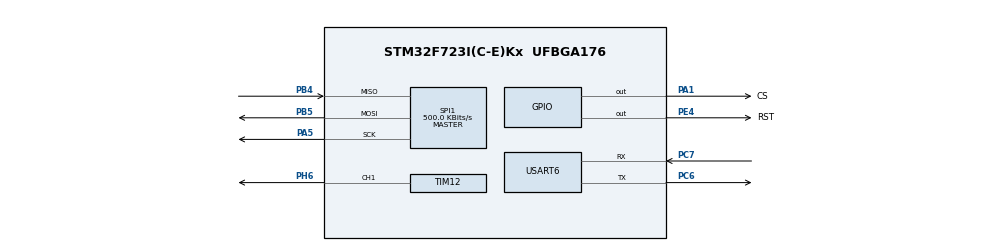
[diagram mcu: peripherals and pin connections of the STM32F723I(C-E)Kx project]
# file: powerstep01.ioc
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Mcu.Family=STM32F7
Mcu.Name=STM32F723I(C-E)Kx
Mcu.Package=UFBGA176
NVIC.PriorityGroup=NVIC_PRIORITYGROUP_4
PA1.GPIO_Label=CS
PA1.Signal=GPIO_Output
PA5.Mode=Full_Duplex_Master
PA5.Signal=SPI1_SCK
PB4.Mode=Full_Duplex_Master
PB4.Signal=SPI1_MISO
PB5.Mode=Full_Duplex_Master
PB5.Signal=SPI1_MOSI
PC6.Mode=Asynchronous
PC6.Signal=USART6_TX
PC7.Mode=Asynchronous
PC7.Signal=USART6_RX
PE4.GPIO_Label=RST
PE4.Signal=GPIO_Output
PH6.Signal=S_TIM12_CH1
ProjectManager.HeapSize=0x800
ProjectManager.StackSize=0x800
ProjectManager.TargetToolchain=TrueSTUDIO
RCC.HSE_VALUE=25000000
RCC.HSI_VALUE=16000000
RCC.LSE_VALUE=32768
RCC.USBFreq_Value=96000000
RCC.VCOOutputFreq_Value=192000000
SH.S_TIM12_CH1.0=TIM12_CH1,PWM Generation1 CH1
SPI1.BaudRatePrescaler=SPI_BAUDRATEPRESCALER_32
SPI1.CLKPhase=SPI_PHASE_2EDGE
SPI1.CLKPolarity=SPI_POLARITY_HIGH
SPI1.CalculateBaudRate=500.0 KBits/s
SPI1.DataSize=SPI_DATASIZE_8BIT
SPI1.Direction=SPI_DIRECTION_2LINES
SPI1.Mode=SPI_MODE_MASTER
SPI1.VirtualType=VM_MASTER
TIM12.Channel-PWM\ Generation1\ CH1=TIM_CHANNEL_1
TIM12.Period=200
TIM12.Pulse-PWM\ Generation1\ CH1=100
USART6.VirtualMode-Asynchronous=VM_ASYNC
VP_TIM12_VS_ClockSourceINT.Mode=Internal
board=custom

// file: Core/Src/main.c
/* USER CODE BEGIN Header */
/**
  ******************************************************************************
  * @file           : main.c
  * @brief          : Main program body
  ******************************************************************************
  * @attention
  *
  * <h2><center>&copy; Copyright (c) 2021 STMicroelectronics.
  * All rights reserved.</center></h2>
  *
  * This software component is licensed by ST under BSD 3-Clause license,
  * the "License"; You may not use this file except in compliance with the
  * License. You may obtain a copy of the License at:
  *                        opensource.org/licenses/BSD-3-Clause
  *
  ******************************************************************************
  */
/* USER CODE END Header */
#include "main.h"

/* USER CODE BEGIN Includes */
#include <stdio.h>

/* USER CODE END Includes */

SPI_HandleTypeDef hspi1;

TIM_HandleTypeDef htim12;

UART_HandleTypeDef huart6;

void SystemClock_Config(void);
static void MX_GPIO_Init(void);
static void MX_SPI1_Init(void);
static void MX_USART6_UART_Init(void);
static void MX_TIM12_Init(void);

/* USER CODE BEGIN 0 */
//DEBUG PRINTF
int __io_putchar(int ch)
{
	char v;
	v = (uint8_t )ch;
	return HAL_UART_Transmit(&huart6, (uint8_t *)&v, 1 ,1000);
}

#include "powerstep01_lib.h"

uint8_t xfer_byte(uint8_t byte)
{
	uint8_t tx = byte;
	uint8_t rx = 0;
	HAL_GPIO_WritePin(CS_GPIO_Port, CS_Pin, GPIO_PIN_RESET);
	HAL_SPI_TransmitReceive(&hspi1, &tx, &rx, 1, 1000);
	HAL_GPIO_WritePin(CS_GPIO_Port, CS_Pin, GPIO_PIN_SET);
	return rx;
}

void init_stepper_motor(void)
{
	set_param(POWERSTEP01_KVAL_HOLD, 64);
	set_param(POWERSTEP01_KVAL_RUN, 64);
	set_param(POWERSTEP01_KVAL_ACC, 64);
	set_param(POWERSTEP01_KVAL_DEC, 64);
	set_param(POWERSTEP01_OCD_TH, 31);
	set_param(POWERSTEP01_STALL_TH, 31);
	set_param(POWERSTEP01_STEP_MODE, 0);
	set_param(POWERSTEP01_CONFIG, 0x3e08);
}

void powerstep_reset_state(uint8_t s)
{
	if(s)
		HAL_GPIO_WritePin(RST_GPIO_Port, RST_Pin, GPIO_PIN_SET);
	else
		HAL_GPIO_WritePin(RST_GPIO_Port, RST_Pin, GPIO_PIN_RESET);
}
/* USER CODE END 0 */

int main(void)
{

  /* MCU Configuration--------------------------------------------------------*/

  /* Reset of all peripherals, Initializes the Flash interface and the Systick. */
  HAL_Init();

  /* Configure the system clock */
  SystemClock_Config();

  /* Initialize all configured peripherals */
  MX_GPIO_Init();
  MX_SPI1_Init();
  MX_USART6_UART_Init();
  MX_TIM12_Init();
  /* USER CODE BEGIN 2 */

  powerstep_reset_state(1);

  printf("powerstep01 bringup!\r\n");
  uint16_t status = 0;
  HAL_Delay(1);

  HAL_Delay(1);

  setHardHiZ();
  init_stepper_motor();
  setHardHiZ();
  HAL_Delay(1);

  /* USER CODE END 2 */

  /* Infinite loop */
  /* USER CODE BEGIN WHILE */
  while (1)
  {

		Move(1000);

		do {
		status = getStatus();
		}while((status & POWERSTEP01_STATUS_MOT_STATUS) != 0);

		Move(-1000);

		do {
		status = getStatus();
		}while((status & POWERSTEP01_STATUS_MOT_STATUS) != 0);

    /* USER CODE END WHILE */

  }
}

void SystemClock_Config(void)
{
  RCC_OscInitTypeDef RCC_OscInitStruct = {0};
  RCC_ClkInitTypeDef RCC_ClkInitStruct = {0};
  RCC_PeriphCLKInitTypeDef PeriphClkInitStruct = {0};

  /** Configure the main internal regulator output voltage
  */
  __HAL_RCC_PWR_CLK_ENABLE();
  __HAL_PWR_VOLTAGESCALING_CONFIG(PWR_REGULATOR_VOLTAGE_SCALE3);
  /** Initializes the RCC Oscillators according to the specified parameters
  * in the RCC_OscInitTypeDef structure.
  */
  RCC_OscInitStruct.OscillatorType = RCC_OSCILLATORTYPE_HSI;
  RCC_OscInitStruct.HSIState = RCC_HSI_ON;
  RCC_OscInitStruct.HSICalibrationValue = RCC_HSICALIBRATION_DEFAULT;
  RCC_OscInitStruct.PLL.PLLState = RCC_PLL_NONE;
  if (HAL_RCC_OscConfig(&RCC_OscInitStruct) != HAL_OK)
  {
    Error_Handler();
  }
  /** Initializes the CPU, AHB and APB buses clocks
  */
  RCC_ClkInitStruct.ClockType = RCC_CLOCKTYPE_HCLK|RCC_CLOCKTYPE_SYSCLK
                              |RCC_CLOCKTYPE_PCLK1|RCC_CLOCKTYPE_PCLK2;
  RCC_ClkInitStruct.SYSCLKSource = RCC_SYSCLKSOURCE_HSI;
  RCC_ClkInitStruct.AHBCLKDivider = RCC_SYSCLK_DIV1;
  RCC_ClkInitStruct.APB1CLKDivider = RCC_HCLK_DIV1;
  RCC_ClkInitStruct.APB2CLKDivider = RCC_HCLK_DIV1;

  if (HAL_RCC_ClockConfig(&RCC_ClkInitStruct, FLASH_LATENCY_0) != HAL_OK)
  {
    Error_Handler();
  }
  PeriphClkInitStruct.PeriphClockSelection = RCC_PERIPHCLK_USART6;
  PeriphClkInitStruct.Usart6ClockSelection = RCC_USART6CLKSOURCE_PCLK2;
  if (HAL_RCCEx_PeriphCLKConfig(&PeriphClkInitStruct) != HAL_OK)
  {
    Error_Handler();
  }
}

static void MX_SPI1_Init(void)
{

  /* SPI1 parameter configuration*/
  hspi1.Instance = SPI1;
  hspi1.Init.Mode = SPI_MODE_MASTER;
  hspi1.Init.Direction = SPI_DIRECTION_2LINES;
  hspi1.Init.DataSize = SPI_DATASIZE_8BIT;
  hspi1.Init.CLKPolarity = SPI_POLARITY_HIGH;
  hspi1.Init.CLKPhase = SPI_PHASE_2EDGE;
  hspi1.Init.NSS = SPI_NSS_SOFT;
  hspi1.Init.BaudRatePrescaler = SPI_BAUDRATEPRESCALER_32;
  hspi1.Init.FirstBit = SPI_FIRSTBIT_MSB;
  hspi1.Init.TIMode = SPI_TIMODE_DISABLE;
  hspi1.Init.CRCCalculation = SPI_CRCCALCULATION_DISABLE;
  hspi1.Init.CRCPolynomial = 7;
  hspi1.Init.CRCLength = SPI_CRC_LENGTH_DATASIZE;
  hspi1.Init.NSSPMode = SPI_NSS_PULSE_DISABLE;
  if (HAL_SPI_Init(&hspi1) != HAL_OK)
  {
    Error_Handler();
  }

}

static void MX_TIM12_Init(void)
{

  TIM_ClockConfigTypeDef sClockSourceConfig = {0};
  TIM_OC_InitTypeDef sConfigOC = {0};

  htim12.Instance = TIM12;
  htim12.Init.Prescaler = 0;
  htim12.Init.CounterMode = TIM_COUNTERMODE_UP;
  htim12.Init.Period = 200;
  htim12.Init.ClockDivision = TIM_CLOCKDIVISION_DIV1;
  htim12.Init.AutoReloadPreload = TIM_AUTORELOAD_PRELOAD_DISABLE;
  if (HAL_TIM_Base_Init(&htim12) != HAL_OK)
  {
    Error_Handler();
  }
  sClockSourceConfig.ClockSource = TIM_CLOCKSOURCE_INTERNAL;
  if (HAL_TIM_ConfigClockSource(&htim12, &sClockSourceConfig) != HAL_OK)
  {
    Error_Handler();
  }
  if (HAL_TIM_PWM_Init(&htim12) != HAL_OK)
  {
    Error_Handler();
  }
  sConfigOC.OCMode = TIM_OCMODE_PWM1;
  sConfigOC.Pulse = 100;
  sConfigOC.OCPolarity = TIM_OCPOLARITY_HIGH;
  sConfigOC.OCFastMode = TIM_OCFAST_DISABLE;
  if (HAL_TIM_PWM_ConfigChannel(&htim12, &sConfigOC, TIM_CHANNEL_1) != HAL_OK)
  {
    Error_Handler();
  }
  HAL_TIM_MspPostInit(&htim12);

}

static void MX_USART6_UART_Init(void)
{

  huart6.Instance = USART6;
  huart6.Init.BaudRate = 115200;
  huart6.Init.WordLength = UART_WORDLENGTH_8B;
  huart6.Init.StopBits = UART_STOPBITS_1;
  huart6.Init.Parity = UART_PARITY_NONE;
  huart6.Init.Mode = UART_MODE_TX_RX;
  huart6.Init.HwFlowCtl = UART_HWCONTROL_NONE;
  huart6.Init.OverSampling = UART_OVERSAMPLING_16;
  huart6.Init.OneBitSampling = UART_ONE_BIT_SAMPLE_DISABLE;
  huart6.AdvancedInit.AdvFeatureInit = UART_ADVFEATURE_NO_INIT;
  if (HAL_UART_Init(&huart6) != HAL_OK)
  {
    Error_Handler();
  }

}

static void MX_GPIO_Init(void)
{
  GPIO_InitTypeDef GPIO_InitStruct = {0};

  /* GPIO Ports Clock Enable */
  __HAL_RCC_GPIOB_CLK_ENABLE();
  __HAL_RCC_GPIOE_CLK_ENABLE();
  __HAL_RCC_GPIOC_CLK_ENABLE();
  __HAL_RCC_GPIOH_CLK_ENABLE();
  __HAL_RCC_GPIOA_CLK_ENABLE();

  /*Configure GPIO pin Output Level */
  HAL_GPIO_WritePin(RST_GPIO_Port, RST_Pin, GPIO_PIN_RESET);

  /*Configure GPIO pin Output Level */
  HAL_GPIO_WritePin(CS_GPIO_Port, CS_Pin, GPIO_PIN_RESET);

  /*Configure GPIO pin : RST_Pin */
  GPIO_InitStruct.Pin = RST_Pin;
  GPIO_InitStruct.Mode = GPIO_MODE_OUTPUT_PP;
  GPIO_InitStruct.Pull = GPIO_NOPULL;
  GPIO_InitStruct.Speed = GPIO_SPEED_FREQ_LOW;
  HAL_GPIO_Init(RST_GPIO_Port, &GPIO_InitStruct);

  /*Configure GPIO pin : CS_Pin */
  GPIO_InitStruct.Pin = CS_Pin;
  GPIO_InitStruct.Mode = GPIO_MODE_OUTPUT_PP;
  GPIO_InitStruct.Pull = GPIO_NOPULL;
  GPIO_InitStruct.Speed = GPIO_SPEED_FREQ_LOW;
  HAL_GPIO_Init(CS_GPIO_Port, &GPIO_InitStruct);

}

void Error_Handler(void)
{
  __disable_irq();
  while (1)
  {
  }
}

/************************ (C) COPYRIGHT STMicroelectronics *****END OF FILE****/
